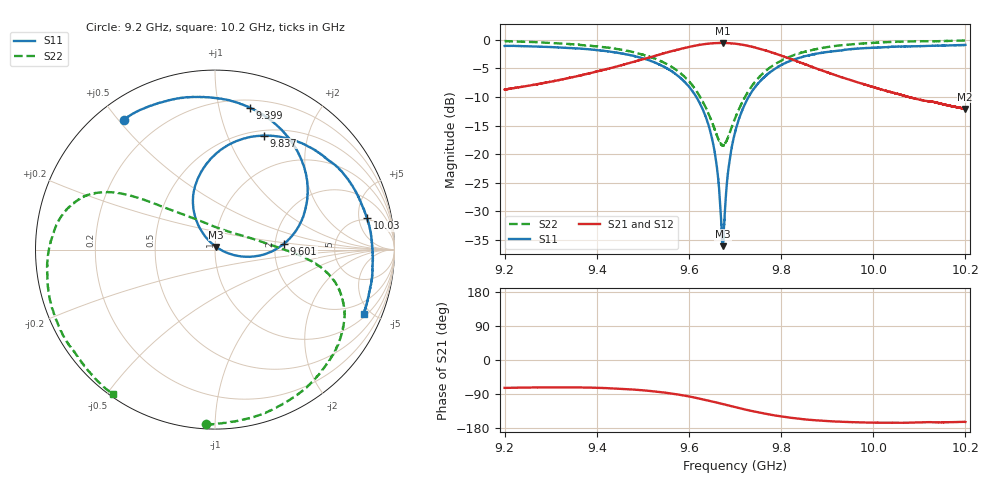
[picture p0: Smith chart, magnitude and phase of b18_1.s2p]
!Agilent Technologies,N5242A,MY51221714,A.09.90.19
!Agilent N5242A: A.09.90.19
!Date: Saturday, December 30, 2023 10:00:11
!Correction: S11(Full 2 Port(1,2))
!S21(Full 2 Port(1,2))
!S12(Full 2 Port(1,2))
!S22(Full 2 Port(1,2))
!S2P File: Measurements: S11, S21, S12, S22:
# Hz S  dB  R 50
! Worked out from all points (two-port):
!   16001 points, 9.2 GHz to 10.2 GHz, reference 50 ohm
!   highest |S21| = -0.54 dB at 9.674 GHz (marker M1); lowest = -12.1 dB at 10.2 GHz (marker M2)
!   |S21| within 3 dB of the highest: 9.494 GHz to 9.827 GHz (333.2 MHz wide, 3.45 % of centre); 9.827221 GHz to 9.827344 GHz (122.5 kHz wide, 0.00125 % of centre)
!   lowest |S11| = -36.1 dB at 9.674 GHz (marker M3), VSWR 1.03, Z = 50.7 + j1.44 ohm
!   |S11| at or under -10 dB: 9.616 GHz to 9.729 GHz (113.3 MHz wide, 1.17 % of centre)
!   |S22| runs from -18.5 to -0.1 dB; largest |S21 - S12| = 0.012
!   S11 on the Smith chart (normalised r, x): 9.2 GHz: 0.08, +0.52; 9.399 GHz: 0.27, +1.24; 9.601 GHz: 2.24, +0.17; 9.837 GHz: 0.56, +1.36; 10.03 GHz: 4.70, +6.48; 10.2 GHz: 1.19, -4.56
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9.2e9  -1.06 125.0  -8.70 -73.6  -8.68 -74.2  -0.22 -92.9
9.277938e9  -1.20 107.0  -7.66 -72.4  -7.65 -72.9  -0.45 -71.7
9.366688e9  -1.55 85.1  -6.19 -72.5  -6.17 -73.1  -0.91 -48.6
9.399062e9  -1.79 76.2  -5.57 -73.4  -5.55 -74.0  -1.13 -40.7
9.466688e9  -2.57 56.1  -4.15 -76.8  -4.15 -77.4  -1.94 -25.7
9.533375e9  -4.23 32.9  -2.65 -83.9  -2.64 -84.4  -3.52 -13.4
9.601125e9  -8.29 4.8  -1.24 -96.4  -1.22 -97.1  -7.36 -2.1
9.648875e9  -16.82 -14.5  -0.63 -109.0  -0.62 -109.5  -14.15 20.3
9.660375e9  -22.02 -15.6  -0.56 -112.3  -0.56 -112.9  -16.65 36.6
9.670438e9  -32.45 9.5  -0.55 -115.4  -0.54 -115.9  -18.30 61.3
9.673625e9  -35.84 59.9  -0.54 -116.3  -0.54 -116.9  -18.44 71.0
9.673875e9  -36.08 64.3  -0.55 -116.4  -0.54 -116.9  -18.43 71.7
9.686812e9  -21.94 126.2  -0.59 -120.3  -0.57 -120.8  -16.63 104.9
9.7e9  -16.23 124.6  -0.67 -124.2  -0.66 -124.8  -13.76 123.0
9.748688e9  -7.76 103.3  -1.47 -137.7  -1.45 -138.3  -6.86 143.9
9.83675e9  -3.21 66.8  -3.81 -154.7  -3.81 -155.3  -2.43 155.7
9.866688e9  -2.58 56.4  -4.70 -158.4  -4.71 -159.0  -1.78 160.1
9.95025e9  -1.64 32.1  -7.03 -163.8  -7.03 -164.4  -0.82 175.7
1.003281e10  -1.26 11.6  -9.02 -165.5  -9.03 -166.1  -0.40 -166.4
1.003338e10  -1.26 11.4  -9.04 -165.5  -9.03 -166.2  -0.39 -166.2
1.019925e10  -0.92 -23.1  -12.08 -163.2  -12.06 -163.9  -0.13 -125.5
1.02e10  -0.89 -23.3  -12.06 -163.3  -12.07 -164.0  -0.12 -125.4
